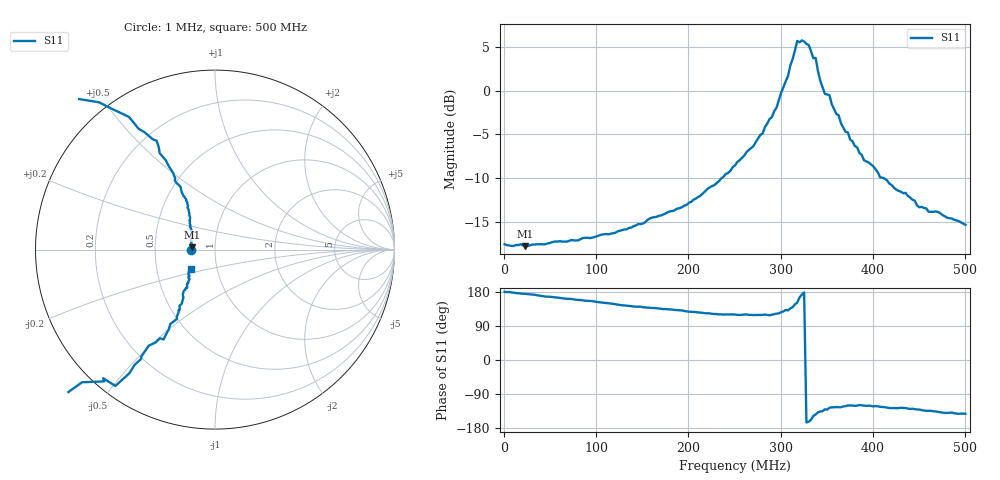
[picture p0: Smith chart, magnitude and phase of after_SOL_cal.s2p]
! PocketVna 1.54  pocketvna.com
! Live measurements ((Reflection-S11) Linear 1000000-500000000/201 calibrated)
# MHz S DB R 50
! MHz  dBS11  <S11  dBS21  <S21  dBS12  <S12  dBS22  <S22
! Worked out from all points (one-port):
!   201 points, 1 MHz to 500 MHz, reference 50 ohm
!   lowest |S11| = -17.7 dB at 23.45 MHz (marker M1), VSWR 1.30, Z = 38.6 + j0.947 ohm
!   |S11| at or under -10 dB: start of sweep to 235.9 MHz; 411.5 MHz to end of sweep
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1  -17.53 179.8  -200.00 0.0  -200.00 0.0  -200.00 0.0
23.455  -17.75 174.7  -200.00 0.0  -200.00 0.0  -200.00 0.0
85.83  -16.81 157.4  -200.00 0.0  -200.00 0.0  -200.00 0.0
168.165  -14.27 135.7  -200.00 0.0  -200.00 0.0  -200.00 0.0
250.5  -8.54 119.9  -200.00 0.0  -200.00 0.0  -200.00 0.0
280.44  -4.90 118.8  -200.00 0.0  -200.00 0.0  -200.00 0.0
297.905  -1.10 122.9  -200.00 0.0  -200.00 0.0  -200.00 0.0
307.885  1.65 131.0  -200.00 0.0  -200.00 0.0  -200.00 0.0
312.875  3.58 139.3  -200.00 0.0  -200.00 0.0  -200.00 0.0
317.865  5.67 151.2  -200.00 0.0  -200.00 0.0  -200.00 0.0
320.36  5.51 164.9  -200.00 0.0  -200.00 0.0  -200.00 0.0
325.35  5.61 178.3  -200.00 0.0  -200.00 0.0  -200.00 0.0
327.845  5.33 -164.7  -200.00 0.0  -200.00 0.0  -200.00 0.0
330.34  5.20 -162.8  -200.00 0.0  -200.00 0.0  -200.00 0.0
335.33  3.69 -147.8  -200.00 0.0  -200.00 0.0  -200.00 0.0
337.825  3.74 -143.6  -200.00 0.0  -200.00 0.0  -200.00 0.0
342.815  1.13 -135.8  -200.00 0.0  -200.00 0.0  -200.00 0.0
347.805  -0.36 -130.0  -200.00 0.0  -200.00 0.0  -200.00 0.0
355.29  -1.55 -124.7  -200.00 0.0  -200.00 0.0  -200.00 0.0
385.23  -7.13 -118.8  -200.00 0.0  -200.00 0.0  -200.00 0.0
417.665  -10.61 -126.6  -200.00 0.0  -200.00 0.0  -200.00 0.0
500  -15.31 -141.7  -200.00 0.0  -200.00 0.0  -200.00 0.0
